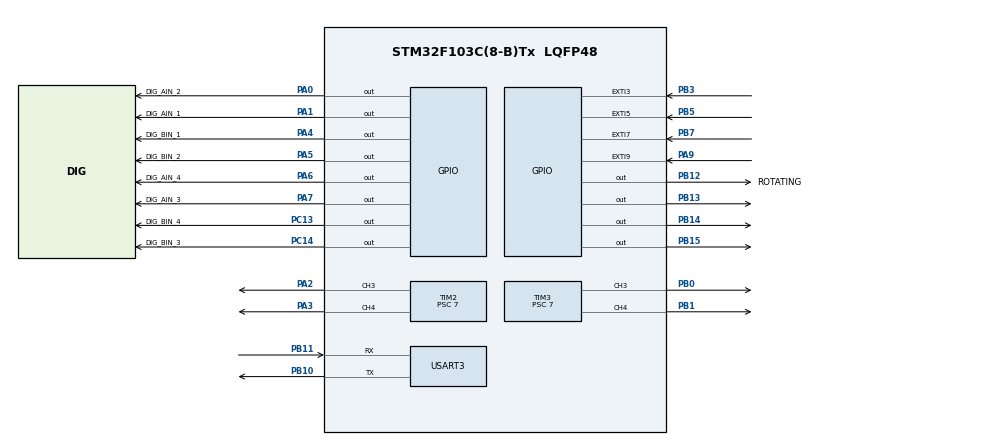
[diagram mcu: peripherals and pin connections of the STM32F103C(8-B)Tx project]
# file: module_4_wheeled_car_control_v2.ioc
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Mcu.Family=STM32F1
Mcu.Name=STM32F103C(8-B)Tx
Mcu.Package=LQFP48
NVIC.PriorityGroup=NVIC_PRIORITYGROUP_4
NVIC.USART3_IRQn=true\:0\:0\:false\:false\:true\:true\:true
PA0-WKUP.GPIO_Label=DIG_AIN_2
PA0-WKUP.Signal=GPIO_Output
PA1.GPIO_Label=DIG_AIN_1
PA1.Signal=GPIO_Output
PA13.Mode=Serial_Wire
PA13.Signal=SYS_JTMS-SWDIO
PA14.Mode=Serial_Wire
PA14.Signal=SYS_JTCK-SWCLK
PA2.Signal=S_TIM2_CH3
PA3.Signal=S_TIM2_CH4
PA4.GPIO_Label=DIG_BIN_1
PA4.Signal=GPIO_Output
PA5.GPIO_Label=DIG_BIN_2
PA5.Signal=GPIO_Output
PA6.GPIO_Label=DIG_AIN_4
PA6.Signal=GPIO_Output
PA7.GPIO_Label=DIG_AIN_3
PA7.Signal=GPIO_Output
PA9.Signal=GPXTI9
PB0.Signal=S_TIM3_CH3
PB1.Signal=S_TIM3_CH4
PB10.Mode=Asynchronous
PB10.Signal=USART3_TX
PB11.Mode=Asynchronous
PB11.Signal=USART3_RX
PB12.GPIO_Label=ROTATING
PB12.Signal=GPIO_Output
PB13.Signal=GPIO_Output
PB14.Signal=GPIO_Output
PB15.Signal=GPIO_Output
PB3.Signal=GPXTI3
PB5.Signal=GPXTI5
PB7.Signal=GPXTI7
PC13-TAMPER-RTC.GPIO_Label=DIG_BIN_4
PC13-TAMPER-RTC.Signal=GPIO_Output
PC14-OSC32_IN.GPIO_Label=DIG_BIN_3
PC14-OSC32_IN.Signal=GPIO_Output
ProjectManager.HeapSize=0x200
ProjectManager.StackSize=0x400
ProjectManager.TargetToolchain=STM32CubeIDE
RCC.APB1Freq_Value=8000000
RCC.APB2Freq_Value=8000000
SH.S_TIM2_CH3.0=TIM2_CH3,PWM Generation3 CH3
SH.S_TIM2_CH4.0=TIM2_CH4,PWM Generation4 CH4
SH.S_TIM3_CH3.0=TIM3_CH3,PWM Generation3 CH3
SH.S_TIM3_CH4.0=TIM3_CH4,PWM Generation4 CH4
TIM2.Channel-PWM\ Generation3\ CH3=TIM_CHANNEL_3
TIM2.Channel-PWM\ Generation4\ CH4=TIM_CHANNEL_4
TIM2.Period=999
TIM2.Prescaler=7
TIM3.Channel-PWM\ Generation3\ CH3=TIM_CHANNEL_3
TIM3.Channel-PWM\ Generation4\ CH4=TIM_CHANNEL_4
TIM3.Period=999
TIM3.Prescaler=7
USART3.VirtualMode=VM_ASYNC
VP_TIM2_VS_ClockSourceINT.Mode=Internal
board=custom

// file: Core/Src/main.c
/* USER CODE BEGIN Header */
/**
  ******************************************************************************
  * @file           : main.c
  * @brief          : Main program body
  ******************************************************************************
  * @attention
  *
  * Copyright (c) 2022 STMicroelectronics.
  * All rights reserved.
  *
  * This software is licensed under terms that can be found in the LICENSE file
  * in the root directory of this software component.
  * If no LICENSE file comes with this software, it is provided AS-IS.
  *
  ******************************************************************************
  */
/* USER CODE END Header */
#include "main.h"

/* USER CODE BEGIN Includes */
#include "car_motors_control.h"
/* USER CODE END Includes */

/* USER CODE BEGIN PTD */
#define PWM_MAX (htim2.Init.Period * 0.88)
/* USER CODE END PTD */

/* USER CODE BEGIN PD */
#define DWT_CONTROL *(volatile unsigned long *)0xE0001000
#define SCB_DEMCR   *(volatile unsigned long *)0xE000EDFC
/* USER CODE END PD */

TIM_HandleTypeDef htim2;
TIM_HandleTypeDef htim3;

UART_HandleTypeDef huart3;

/* USER CODE BEGIN PV */
volatile uint8_t uart_flag = 0;
uint8_t uart_buf[10];
/* USER CODE END PV */

void SystemClock_Config(void);
static void MX_GPIO_Init(void);
static void MX_TIM2_Init(void);
static void MX_TIM3_Init(void);
static void MX_USART3_UART_Init(void);

/* USER CODE BEGIN 0 */
void HAL_UART_RxCpltCallback(UART_HandleTypeDef *huart) {
	uart_flag = 1;
	HAL_UART_Receive_IT(&huart3, (uint8_t *) uart_buf, sizeof(uart_buf));
}

void command_accomplishing(void) {
	if (uart_buf[0] == 'B') {
		move_motor(1, uart_buf[1], uart_buf[2] * PWM_MAX / 255);
		move_motor(2, uart_buf[3], uart_buf[4] * PWM_MAX / 255);
	}

	if (uart_buf[5] == 'T') {
		move_motor(3, uart_buf[6], uart_buf[7] * PWM_MAX / 255);
		move_motor(4, uart_buf[8], uart_buf[9] * PWM_MAX / 255);
	}

//	else if (uart_buf[0] == 'R') {
//		HAL_GPIO_WritePin(ROTATING_GPIO_Port, ROTATING_Pin, 1);
//		HAL_Delay(1000);
//		HAL_GPIO_WritePin(ROTATING_GPIO_Port, ROTATING_Pin, 0);
//	}
//
//	else if (uart_buf[0] == 'S') {
//		stop_all_motors();
//	}
//
//	else if (uart_buf[0] == 'Z') {
//		TIM1 -> CCR1 = 10;
//		HAL_Delay(2000);
//		TIM1 -> CCR1 = 0;
//	}
}

void DWT_Init(void)
{
    SCB_DEMCR |= CoreDebug_DEMCR_TRCENA_Msk; // разрешаем использовать счётчик
    DWT_CONTROL |= DWT_CTRL_CYCCNTENA_Msk;   // запускаем счётчик
}

void delay_micros(uint32_t us)
{
    uint32_t us_count_tic =  us * (SystemCoreClock / 1000000); // получаем кол-во тактов за 1 мкс и умножаем на наше значение
    DWT->CYCCNT = 0U; // обнуляем счётчик
    while(DWT->CYCCNT < us_count_tic);
}
/* USER CODE END 0 */

int main(void)
{

  /* MCU Configuration--------------------------------------------------------*/

  /* Reset of all peripherals, Initializes the Flash interface and the Systick. */
  HAL_Init();

  /* Configure the system clock */
  SystemClock_Config();

  /* Initialize all configured peripherals */
  MX_GPIO_Init();
  MX_TIM2_Init();
  MX_TIM3_Init();
  MX_USART3_UART_Init();
  /* USER CODE BEGIN 2 */
  DWT_Init();

  for (int i = 0; i < 700; ++i) {
	  HAL_GPIO_WritePin(ROTATING_GPIO_Port, ROTATING_Pin, GPIO_PIN_SET);
	  delay_micros(500);
	  HAL_GPIO_WritePin(ROTATING_GPIO_Port, ROTATING_Pin, GPIO_PIN_RESET);
	  delay_micros(500);
  }
  /* USER CODE END 2 */

  /* Infinite loop */
  /* USER CODE BEGIN WHILE */
  init_motors();
  HAL_UART_Receive_IT(&huart3, (uint8_t *) uart_buf, sizeof(uart_buf));
  while (1) {
	  if (uart_flag) {
		  uart_flag = 0;
		  command_accomplishing();
	  }
    /* USER CODE END WHILE */

  }
}

void SystemClock_Config(void)
{
  RCC_OscInitTypeDef RCC_OscInitStruct = {0};
  RCC_ClkInitTypeDef RCC_ClkInitStruct = {0};

  /** Initializes the RCC Oscillators according to the specified parameters
  * in the RCC_OscInitTypeDef structure.
  */
  RCC_OscInitStruct.OscillatorType = RCC_OSCILLATORTYPE_HSI;
  RCC_OscInitStruct.HSIState = RCC_HSI_ON;
  RCC_OscInitStruct.HSICalibrationValue = RCC_HSICALIBRATION_DEFAULT;
  RCC_OscInitStruct.PLL.PLLState = RCC_PLL_NONE;
  if (HAL_RCC_OscConfig(&RCC_OscInitStruct) != HAL_OK)
  {
    Error_Handler();
  }
  /** Initializes the CPU, AHB and APB buses clocks
  */
  RCC_ClkInitStruct.ClockType = RCC_CLOCKTYPE_HCLK|RCC_CLOCKTYPE_SYSCLK
                              |RCC_CLOCKTYPE_PCLK1|RCC_CLOCKTYPE_PCLK2;
  RCC_ClkInitStruct.SYSCLKSource = RCC_SYSCLKSOURCE_HSI;
  RCC_ClkInitStruct.AHBCLKDivider = RCC_SYSCLK_DIV1;
  RCC_ClkInitStruct.APB1CLKDivider = RCC_HCLK_DIV1;
  RCC_ClkInitStruct.APB2CLKDivider = RCC_HCLK_DIV1;

  if (HAL_RCC_ClockConfig(&RCC_ClkInitStruct, FLASH_LATENCY_0) != HAL_OK)
  {
    Error_Handler();
  }
}

static void MX_TIM2_Init(void)
{

  TIM_ClockConfigTypeDef sClockSourceConfig = {0};
  TIM_MasterConfigTypeDef sMasterConfig = {0};
  TIM_OC_InitTypeDef sConfigOC = {0};

  htim2.Instance = TIM2;
  htim2.Init.Prescaler = 7;
  htim2.Init.CounterMode = TIM_COUNTERMODE_UP;
  htim2.Init.Period = 999;
  htim2.Init.ClockDivision = TIM_CLOCKDIVISION_DIV1;
  htim2.Init.AutoReloadPreload = TIM_AUTORELOAD_PRELOAD_DISABLE;
  if (HAL_TIM_Base_Init(&htim2) != HAL_OK)
  {
    Error_Handler();
  }
  sClockSourceConfig.ClockSource = TIM_CLOCKSOURCE_INTERNAL;
  if (HAL_TIM_ConfigClockSource(&htim2, &sClockSourceConfig) != HAL_OK)
  {
    Error_Handler();
  }
  if (HAL_TIM_PWM_Init(&htim2) != HAL_OK)
  {
    Error_Handler();
  }
  sMasterConfig.MasterOutputTrigger = TIM_TRGO_RESET;
  sMasterConfig.MasterSlaveMode = TIM_MASTERSLAVEMODE_DISABLE;
  if (HAL_TIMEx_MasterConfigSynchronization(&htim2, &sMasterConfig) != HAL_OK)
  {
    Error_Handler();
  }
  sConfigOC.OCMode = TIM_OCMODE_PWM1;
  sConfigOC.Pulse = 0;
  sConfigOC.OCPolarity = TIM_OCPOLARITY_HIGH;
  sConfigOC.OCFastMode = TIM_OCFAST_DISABLE;
  if (HAL_TIM_PWM_ConfigChannel(&htim2, &sConfigOC, TIM_CHANNEL_3) != HAL_OK)
  {
    Error_Handler();
  }
  if (HAL_TIM_PWM_ConfigChannel(&htim2, &sConfigOC, TIM_CHANNEL_4) != HAL_OK)
  {
    Error_Handler();
  }
  HAL_TIM_MspPostInit(&htim2);

}

static void MX_TIM3_Init(void)
{

  TIM_MasterConfigTypeDef sMasterConfig = {0};
  TIM_OC_InitTypeDef sConfigOC = {0};

  htim3.Instance = TIM3;
  htim3.Init.Prescaler = 7;
  htim3.Init.CounterMode = TIM_COUNTERMODE_UP;
  htim3.Init.Period = 999;
  htim3.Init.ClockDivision = TIM_CLOCKDIVISION_DIV1;
  htim3.Init.AutoReloadPreload = TIM_AUTORELOAD_PRELOAD_DISABLE;
  if (HAL_TIM_PWM_Init(&htim3) != HAL_OK)
  {
    Error_Handler();
  }
  sMasterConfig.MasterOutputTrigger = TIM_TRGO_RESET;
  sMasterConfig.MasterSlaveMode = TIM_MASTERSLAVEMODE_DISABLE;
  if (HAL_TIMEx_MasterConfigSynchronization(&htim3, &sMasterConfig) != HAL_OK)
  {
    Error_Handler();
  }
  sConfigOC.OCMode = TIM_OCMODE_PWM1;
  sConfigOC.Pulse = 0;
  sConfigOC.OCPolarity = TIM_OCPOLARITY_HIGH;
  sConfigOC.OCFastMode = TIM_OCFAST_DISABLE;
  if (HAL_TIM_PWM_ConfigChannel(&htim3, &sConfigOC, TIM_CHANNEL_3) != HAL_OK)
  {
    Error_Handler();
  }
  if (HAL_TIM_PWM_ConfigChannel(&htim3, &sConfigOC, TIM_CHANNEL_4) != HAL_OK)
  {
    Error_Handler();
  }
  HAL_TIM_MspPostInit(&htim3);

}

static void MX_USART3_UART_Init(void)
{

  huart3.Instance = USART3;
  huart3.Init.BaudRate = 115200;
  huart3.Init.WordLength = UART_WORDLENGTH_8B;
  huart3.Init.StopBits = UART_STOPBITS_1;
  huart3.Init.Parity = UART_PARITY_NONE;
  huart3.Init.Mode = UART_MODE_TX_RX;
  huart3.Init.HwFlowCtl = UART_HWCONTROL_NONE;
  huart3.Init.OverSampling = UART_OVERSAMPLING_16;
  if (HAL_UART_Init(&huart3) != HAL_OK)
  {
    Error_Handler();
  }

}

static void MX_GPIO_Init(void)
{
  GPIO_InitTypeDef GPIO_InitStruct = {0};

  /* GPIO Ports Clock Enable */
  __HAL_RCC_GPIOC_CLK_ENABLE();
  __HAL_RCC_GPIOA_CLK_ENABLE();
  __HAL_RCC_GPIOB_CLK_ENABLE();

  /*Configure GPIO pin Output Level */
  HAL_GPIO_WritePin(GPIOC, DIG_BIN_4_Pin|DIG_BIN_3_Pin, GPIO_PIN_RESET);

  /*Configure GPIO pin Output Level */
  HAL_GPIO_WritePin(GPIOA, DIG_AIN_2_Pin|DIG_AIN_1_Pin|DIG_BIN_1_Pin|DIG_BIN_2_Pin
                          |DIG_AIN_4_Pin|DIG_AIN_3_Pin, GPIO_PIN_RESET);

  /*Configure GPIO pin Output Level */
  HAL_GPIO_WritePin(GPIOB, ROTATING_Pin|GPIO_PIN_13|GPIO_PIN_14|GPIO_PIN_15, GPIO_PIN_RESET);

  /*Configure GPIO pins : DIG_BIN_4_Pin DIG_BIN_3_Pin */
  GPIO_InitStruct.Pin = DIG_BIN_4_Pin|DIG_BIN_3_Pin;
  GPIO_InitStruct.Mode = GPIO_MODE_OUTPUT_PP;
  GPIO_InitStruct.Pull = GPIO_NOPULL;
  GPIO_InitStruct.Speed = GPIO_SPEED_FREQ_LOW;
  HAL_GPIO_Init(GPIOC, &GPIO_InitStruct);

  /*Configure GPIO pins : DIG_AIN_2_Pin DIG_AIN_1_Pin DIG_BIN_1_Pin DIG_BIN_2_Pin
                           DIG_AIN_4_Pin DIG_AIN_3_Pin */
  GPIO_InitStruct.Pin = DIG_AIN_2_Pin|DIG_AIN_1_Pin|DIG_BIN_1_Pin|DIG_BIN_2_Pin
                          |DIG_AIN_4_Pin|DIG_AIN_3_Pin;
  GPIO_InitStruct.Mode = GPIO_MODE_OUTPUT_PP;
  GPIO_InitStruct.Pull = GPIO_NOPULL;
  GPIO_InitStruct.Speed = GPIO_SPEED_FREQ_LOW;
  HAL_GPIO_Init(GPIOA, &GPIO_InitStruct);

  /*Configure GPIO pins : ROTATING_Pin PB13 PB14 PB15 */
  GPIO_InitStruct.Pin = ROTATING_Pin|GPIO_PIN_13|GPIO_PIN_14|GPIO_PIN_15;
  GPIO_InitStruct.Mode = GPIO_MODE_OUTPUT_PP;
  GPIO_InitStruct.Pull = GPIO_NOPULL;
  GPIO_InitStruct.Speed = GPIO_SPEED_FREQ_LOW;
  HAL_GPIO_Init(GPIOB, &GPIO_InitStruct);

  /*Configure GPIO pin : PA9 */
  GPIO_InitStruct.Pin = GPIO_PIN_9;
  GPIO_InitStruct.Mode = GPIO_MODE_IT_RISING;
  GPIO_InitStruct.Pull = GPIO_NOPULL;
  HAL_GPIO_Init(GPIOA, &GPIO_InitStruct);

  /*Configure GPIO pins : PB3 PB5 PB7 */
  GPIO_InitStruct.Pin = GPIO_PIN_3|GPIO_PIN_5|GPIO_PIN_7;
  GPIO_InitStruct.Mode = GPIO_MODE_IT_RISING;
  GPIO_InitStruct.Pull = GPIO_NOPULL;
  HAL_GPIO_Init(GPIOB, &GPIO_InitStruct);

}

void Error_Handler(void)
{
  __disable_irq();
  while (1)
  {
  }
}
